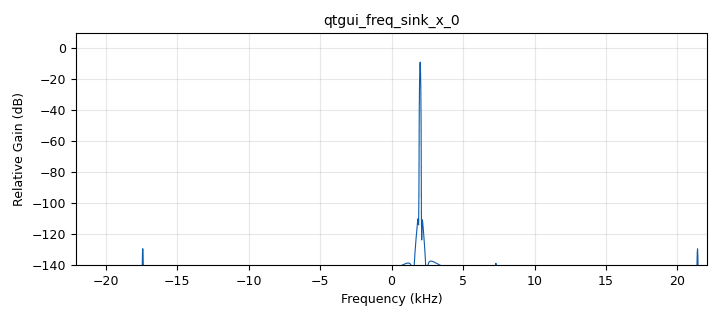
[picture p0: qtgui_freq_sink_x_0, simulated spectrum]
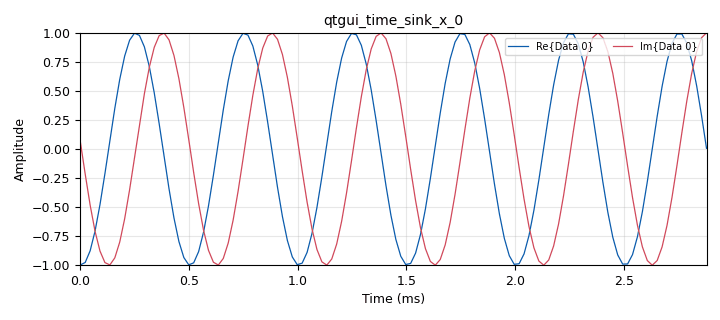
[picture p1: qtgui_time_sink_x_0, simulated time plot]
options:
  parameters:
    author: abn
    generate_options: qt_gui
    id: Aliasing_example
    output_language: python
    title: Aliasing Demo
  states: {}

blocks:
- name: freq
  id: variable_qtgui_range
  parameters:
    label: Frequency
    start: '1000'
    step: '1000'
    stop: '100000'
    value: '2000'
  states: {}
- name: samp_rate
  id: variable
  parameters:
    value: '44100'
  states: {}
- name: analog_sig_source_x_0
  id: analog_sig_source_x
  parameters:
    amp: '1'
    freq: int(freq)
    offset: '0'
    phase: '0'
    samp_rate: samp_rate
    type: complex
    waveform: analog.GR_COS_WAVE
  states: {}
- name: blocks_throttle2_0
  id: blocks_throttle2
  parameters:
    samples_per_second: samp_rate
    type: complex
  states: {}
- name: qtgui_freq_sink_x_0
  id: qtgui_freq_sink_x
  parameters:
    bw: samp_rate
    fc: '0'
    fftsize: '2048'
    grid: 'True'
    type: complex
  states: {}
- name: qtgui_time_sink_x_0
  id: qtgui_time_sink_x
  parameters:
    size: '128'
    srate: samp_rate
    type: complex
  states: {}

connections:
- [analog_sig_source_x_0, '0', blocks_throttle2_0, '0']
- [blocks_throttle2_0, '0', qtgui_freq_sink_x_0, '0']
- [blocks_throttle2_0, '0', qtgui_time_sink_x_0, '0']

metadata:
  file_format: 1
  grc_version: 3.10.12.0
